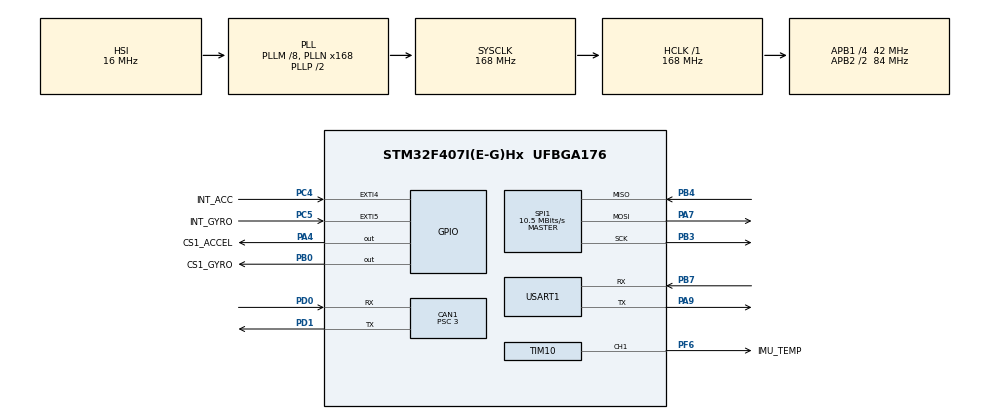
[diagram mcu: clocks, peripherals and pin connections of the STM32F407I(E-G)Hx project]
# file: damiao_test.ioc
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CAN1.BS1=CAN_BS1_10TQ
CAN1.BS2=CAN_BS2_3TQ
CAN1.CalculateBaudRate=1000000
CAN1.CalculateTimeBit=1000
CAN1.CalculateTimeQuantum=71.42857142857143
CAN1.Prescaler=3
Dma.Request0=SPI1_RX
Dma.Request1=SPI1_TX
Dma.SPI1_RX.0.Direction=DMA_PERIPH_TO_MEMORY
Dma.SPI1_RX.0.FIFOMode=DMA_FIFOMODE_ENABLE
Dma.SPI1_RX.0.FIFOThreshold=DMA_FIFO_THRESHOLD_FULL
Dma.SPI1_RX.0.Instance=DMA2_Stream0
Dma.SPI1_RX.0.MemBurst=DMA_MBURST_SINGLE
Dma.SPI1_RX.0.MemDataAlignment=DMA_MDATAALIGN_BYTE
Dma.SPI1_RX.0.MemInc=DMA_MINC_ENABLE
Dma.SPI1_RX.0.Mode=DMA_NORMAL
Dma.SPI1_RX.0.PeriphBurst=DMA_PBURST_SINGLE
Dma.SPI1_RX.0.PeriphDataAlignment=DMA_PDATAALIGN_BYTE
Dma.SPI1_RX.0.PeriphInc=DMA_PINC_DISABLE
Dma.SPI1_RX.0.Priority=DMA_PRIORITY_HIGH
Dma.SPI1_TX.1.Direction=DMA_MEMORY_TO_PERIPH
Dma.SPI1_TX.1.FIFOMode=DMA_FIFOMODE_DISABLE
Dma.SPI1_TX.1.Instance=DMA2_Stream3
Dma.SPI1_TX.1.MemDataAlignment=DMA_MDATAALIGN_BYTE
Dma.SPI1_TX.1.MemInc=DMA_MINC_ENABLE
Dma.SPI1_TX.1.Mode=DMA_NORMAL
Dma.SPI1_TX.1.PeriphDataAlignment=DMA_PDATAALIGN_BYTE
Dma.SPI1_TX.1.PeriphInc=DMA_PINC_DISABLE
Dma.SPI1_TX.1.Priority=DMA_PRIORITY_HIGH
Mcu.Family=STM32F4
Mcu.Name=STM32F407I(E-G)Hx
Mcu.Package=UFBGA176
NVIC.CAN1_RX0_IRQn=true\:0\:0\:false\:false\:true\:true\:true\:true
NVIC.CAN1_RX1_IRQn=true\:0\:0\:false\:false\:true\:true\:true\:true
NVIC.DMA2_Stream0_IRQn=true\:0\:0\:false\:false\:true\:false\:true\:true
NVIC.DMA2_Stream3_IRQn=true\:0\:0\:false\:false\:true\:false\:true\:true
NVIC.PriorityGroup=NVIC_PRIORITYGROUP_4
NVIC.SPI1_IRQn=true\:0\:0\:false\:false\:true\:true\:true\:true
PA13.Mode=Serial_Wire
PA13.Signal=SYS_JTMS-SWDIO
PA14.Mode=Serial_Wire
PA14.Signal=SYS_JTCK-SWCLK
PA4.GPIO_Label=CS1_ACCEL
PA4.GPIO_ModeDefaultOutputPP=GPIO_MODE_OUTPUT_PP
PA4.GPIO_PuPd=GPIO_PULLUP
PA4.GPIO_Speed=GPIO_SPEED_FREQ_HIGH
PA4.PinState=GPIO_PIN_SET
PA4.Signal=GPIO_Output
PA7.GPIO_PuPd=GPIO_PULLUP
PA7.Mode=Full_Duplex_Master
PA7.Signal=SPI1_MOSI
PA9.Mode=Asynchronous
PA9.Signal=USART1_TX
PB0.GPIO_Label=CS1_GYRO
PB0.GPIO_ModeDefaultOutputPP=GPIO_MODE_OUTPUT_PP
PB0.GPIO_PuPd=GPIO_PULLUP
PB0.GPIO_Speed=GPIO_SPEED_FREQ_HIGH
PB0.PinState=GPIO_PIN_SET
PB0.Signal=GPIO_Output
PB3.GPIO_PuPd=GPIO_PULLUP
PB3.Mode=Full_Duplex_Master
PB3.Signal=SPI1_SCK
PB4.GPIO_PuPd=GPIO_PULLUP
PB4.Mode=Full_Duplex_Master
PB4.Signal=SPI1_MISO
PB7.Mode=Asynchronous
PB7.Signal=USART1_RX
PC4.GPIO_Label=INT_ACC
PC4.GPIO_ModeDefaultEXTI=GPIO_MODE_IT_FALLING
PC4.Signal=GPXTI4
PC5.GPIO_Label=INT_GYRO
PC5.GPIO_ModeDefaultEXTI=GPIO_MODE_IT_FALLING
PC5.GPIO_PuPd=GPIO_NOPULL
PC5.Signal=GPXTI5
PD0.Mode=CAN_Activate
PD0.Signal=CAN1_RX
PD1.Mode=CAN_Activate
PD1.Signal=CAN1_TX
PF6.GPIO_Label=IMU_TEMP
PF6.GPIO_PuPd=GPIO_PULLUP
PF6.GPIO_Speed=GPIO_SPEED_FREQ_HIGH
PF6.Signal=S_TIM10_CH1
PH0-OSC_IN.Mode=HSE-External-Oscillator
PH0-OSC_IN.Signal=RCC_OSC_IN
PH1-OSC_OUT.Mode=HSE-External-Oscillator
PH1-OSC_OUT.Signal=RCC_OSC_OUT
ProjectManager.HeapSize=0x200
ProjectManager.StackSize=0x400
ProjectManager.TargetToolchain=MDK-ARM V5
RCC.48MHZClocksFreq_Value=84000000
RCC.AHBFreq_Value=168000000
RCC.APB1CLKDivider=RCC_HCLK_DIV4
RCC.APB1Freq_Value=42000000
RCC.APB1TimFreq_Value=84000000
RCC.APB2CLKDivider=RCC_HCLK_DIV2
RCC.APB2Freq_Value=84000000
RCC.APB2TimFreq_Value=168000000
RCC.CortexFreq_Value=168000000
RCC.HCLKFreq_Value=168000000
RCC.HSE_VALUE=25000000
RCC.HSI_VALUE=16000000
RCC.LSE_VALUE=32768
RCC.PLLM=8
RCC.PLLN=168
RCC.SYSCLKFreq_VALUE=168000000
RCC.SYSCLKSource=RCC_SYSCLKSOURCE_PLLCLK
RCC.VCOOutputFreq_Value=336000000
SH.S_TIM10_CH1.0=TIM10_CH1,PWM Generation1 CH1
SPI1.BaudRatePrescaler=SPI_BAUDRATEPRESCALER_8
SPI1.CLKPhase=SPI_PHASE_2EDGE
SPI1.CLKPolarity=SPI_POLARITY_HIGH
SPI1.CalculateBaudRate=10.5 MBits/s
SPI1.Direction=SPI_DIRECTION_2LINES
SPI1.Mode=SPI_MODE_MASTER
SPI1.VirtualType=VM_MASTER
TIM10.Channel=TIM_CHANNEL_1
TIM10.Period=5000-1
TIM10.Prescaler=167
USART1.VirtualMode=VM_ASYNC
VP_TIM10_VS_ClockSourceINT.Mode=Enable_Timer
board=custom

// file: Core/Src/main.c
/* USER CODE BEGIN Header */
/**
  ******************************************************************************
  * @file           : main.c
  * @brief          : Main program body
  ******************************************************************************
  * @attention
  *
  * Copyright (c) 2026 STMicroelectronics.
  * All rights reserved.
  *
  * This software is licensed under terms that can be found in the LICENSE file
  * in the root directory of this software component.
  * If no LICENSE file comes with this software, it is provided AS-IS.
  *
  ******************************************************************************
  */
/* USER CODE END Header */
#include "main.h"
#include "can.h"
#include "dma.h"
#include "spi.h"
#include "tim.h"
#include "usart.h"
#include "gpio.h"

/* USER CODE BEGIN Includes */

#include "bsp_dwt.h"
#include "dmmotor.h"
#include "bmi088_simple.h"
#include "bsp_usart.h"
#include <math.h>

/* USER CODE END Includes */

/* USER CODE BEGIN PTD */

static BMI088_t		imu_data;

/* USER CODE END PTD */

void SystemClock_Config(void);

/* USER CODE BEGIN 0 */

static DMMotorInstance *pitch_motor;

float current_angle ;
float current_velocity ;
float current_torque ;
float current_deg ;

/* 位置模式参数（在 debug 里实时修改调参） */
float K_p = 0.0f;    // 初始值，根据实测调整
float K_d = 0.0f;   // 初始值，根据实测调整
float Target_angle = 0.0f;

#define SWEEP_START_DEG     (-30.0f)   // 起始角度
#define SWEEP_END_DEG       ( 20.0f)   // 终止角度
#define SWEEP_STEP_DEG      (  2.0f)   // 每步步长
#define SWEEP_SETTLE_COUNT  (500)      // 每个角度等待稳定的循环次数（500×2ms=500ms）
#define TORQUE_AVG_COUNT    (50)       // 稳定后取最后50次力矩均值
#define MAX_SWEEP_CYCLES    (30)        // 需要循环的次数
#define TORQUE_STABLE_THRESHOLD  0.005f  // 力矩稳定判定阈值 (Nm)，可调

typedef enum {
    SWEEP_IDLE    = 0,  // 空闲（不自动扫，手动控制 Target_angle）
    SWEEP_RUNNING = 1,  // 正在自动扫角
    SWEEP_DONE    = 2,  // 完成扫描
} SweepState_e;

/* USER CODE END 0 */

int main(void)
{

  /* MCU Configuration--------------------------------------------------------*/

  /* Reset of all peripherals, Initializes the Flash interface and the Systick. */
  HAL_Init();

  /* USER CODE BEGIN Init */

  DWT_Init(168);

  /* USER CODE END Init */

  /* Configure the system clock */
  SystemClock_Config();

  /* Initialize all configured peripherals */
  MX_GPIO_Init();
  MX_DMA_Init();
  MX_CAN1_Init();
  MX_TIM10_Init();
  MX_SPI1_Init();
  MX_USART1_UART_Init();
  /* USER CODE BEGIN 2 */

  uint8_t bmi_status = BMI088_Init(&imu_data);

  if (bmi_status != 0)
  {

      while(1)
      {

      }
  }

  BMI088_CalibrateGyro(&imu_data);

  DMMotor_Init_Config_s pitch_conf = {
        .can_handle = &hcan1,
        .tx_id      = 0x02,
        .rx_id      = 0xF2,  // �����λ�� Master ID
    };
    pitch_motor = DMMotorInit(&pitch_conf);

  /* USER CODE END 2 */

  /* Infinite loop */
  /* USER CODE BEGIN WHILE */
  while (1)
  {
		/* ---- 1. 读取 IMU ---- */
        BMI088_ReadSensor(&imu_data);
        BMI088_UpdateAttitude(&imu_data);

        /* ---- 2. 读取电机反馈 ---- */
        current_angle    = pitch_motor->measure.total_angle;
        current_velocity = pitch_motor->measure.velocity;
        current_torque   = pitch_motor->measure.torque;
        current_deg      = pitch_motor->measure.position * 57.29578f;

        DMMotorSendPosVelTorque(pitch_motor,
                                 Target_angle,
                                 0.0f,
                                 K_p,
                                 K_d,
                                 0.0f);

//		DMMotorSetTorque(pitch_motor, 1.0f);   // 给5Nm
//		DMMotorSendTorque(pitch_motor);

        DWT_Delay_ms(2); // 2ms 控制周期

    /* USER CODE END WHILE */

  }
}

void SystemClock_Config(void)
{
  RCC_OscInitTypeDef RCC_OscInitStruct = {0};
  RCC_ClkInitTypeDef RCC_ClkInitStruct = {0};

  /** Configure the main internal regulator output voltage
  */
  __HAL_RCC_PWR_CLK_ENABLE();
  __HAL_PWR_VOLTAGESCALING_CONFIG(PWR_REGULATOR_VOLTAGE_SCALE1);

  /** Initializes the RCC Oscillators according to the specified parameters
  * in the RCC_OscInitTypeDef structure.
  */
  RCC_OscInitStruct.OscillatorType = RCC_OSCILLATORTYPE_HSI;
  RCC_OscInitStruct.HSIState = RCC_HSI_ON;
  RCC_OscInitStruct.HSICalibrationValue = RCC_HSICALIBRATION_DEFAULT;
  RCC_OscInitStruct.PLL.PLLState = RCC_PLL_ON;
  RCC_OscInitStruct.PLL.PLLSource = RCC_PLLSOURCE_HSI;
  RCC_OscInitStruct.PLL.PLLM = 8;
  RCC_OscInitStruct.PLL.PLLN = 168;
  RCC_OscInitStruct.PLL.PLLP = RCC_PLLP_DIV2;
  RCC_OscInitStruct.PLL.PLLQ = 4;
  if (HAL_RCC_OscConfig(&RCC_OscInitStruct) != HAL_OK)
  {
    Error_Handler();
  }

  /** Initializes the CPU, AHB and APB buses clocks
  */
  RCC_ClkInitStruct.ClockType = RCC_CLOCKTYPE_HCLK|RCC_CLOCKTYPE_SYSCLK
                              |RCC_CLOCKTYPE_PCLK1|RCC_CLOCKTYPE_PCLK2;
  RCC_ClkInitStruct.SYSCLKSource = RCC_SYSCLKSOURCE_PLLCLK;
  RCC_ClkInitStruct.AHBCLKDivider = RCC_SYSCLK_DIV1;
  RCC_ClkInitStruct.APB1CLKDivider = RCC_HCLK_DIV4;
  RCC_ClkInitStruct.APB2CLKDivider = RCC_HCLK_DIV2;

  if (HAL_RCC_ClockConfig(&RCC_ClkInitStruct, FLASH_LATENCY_5) != HAL_OK)
  {
    Error_Handler();
  }
}

void Error_Handler(void)
{
  __disable_irq();
  while (1)
  {
  }
}
